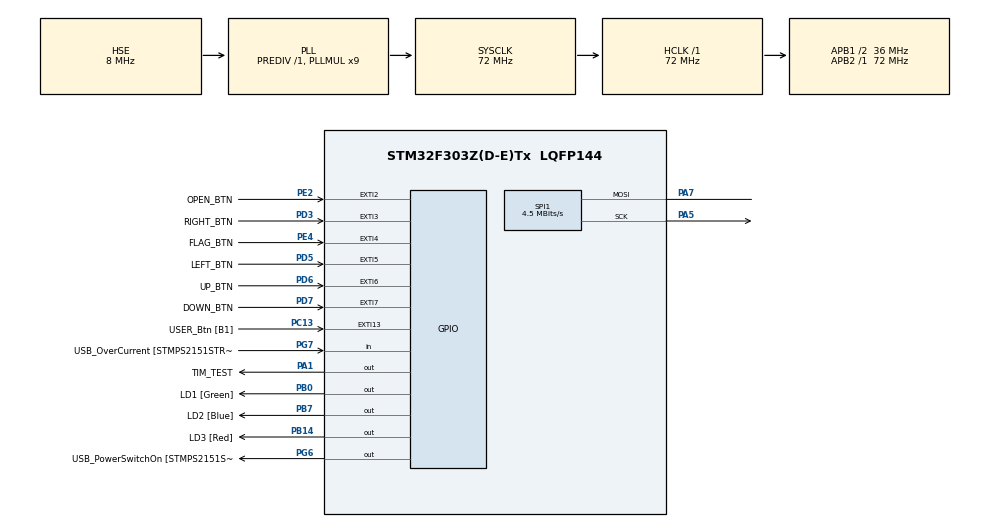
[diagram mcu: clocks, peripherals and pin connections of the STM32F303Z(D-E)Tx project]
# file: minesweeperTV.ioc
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Dma.Request0=SPI1_TX
Dma.SPI1_TX.0.Direction=DMA_MEMORY_TO_PERIPH
Dma.SPI1_TX.0.Instance=DMA1_Channel3
Dma.SPI1_TX.0.MemDataAlignment=DMA_MDATAALIGN_BYTE
Dma.SPI1_TX.0.MemInc=DMA_MINC_ENABLE
Dma.SPI1_TX.0.Mode=DMA_NORMAL
Dma.SPI1_TX.0.PeriphDataAlignment=DMA_PDATAALIGN_BYTE
Dma.SPI1_TX.0.PeriphInc=DMA_PINC_DISABLE
Dma.SPI1_TX.0.Priority=DMA_PRIORITY_LOW
Mcu.Family=STM32F3
Mcu.Name=STM32F303Z(D-E)Tx
Mcu.Package=LQFP144
NVIC.DMA1_Channel3_IRQn=true\:0\:0\:false\:false\:true\:false\:true\:true
NVIC.EXTI15_10_IRQn=true\:0\:0\:false\:false\:true\:true\:true\:true
NVIC.EXTI2_TSC_IRQn=true\:0\:0\:false\:false\:true\:true\:true\:true
NVIC.EXTI3_IRQn=true\:0\:0\:false\:false\:true\:true\:true\:true
NVIC.EXTI4_IRQn=true\:0\:0\:false\:false\:true\:true\:true\:true
NVIC.EXTI9_5_IRQn=true\:0\:0\:false\:false\:true\:true\:true\:true
NVIC.PriorityGroup=NVIC_PRIORITYGROUP_4
NVIC.SPI1_IRQn=true\:0\:0\:false\:false\:true\:true\:true\:true
NVIC.TIM1_UP_TIM16_IRQn=true\:0\:0\:false\:false\:true\:true\:true\:true
PA1.GPIO_Label=TIM_TEST
PA1.GPIO_Speed=GPIO_SPEED_FREQ_HIGH
PA1.Signal=GPIO_Output
PA11.GPIO_Label=USB_DM
PA11.Signal=USB_DM
PA12.GPIO_Label=USB_DP
PA12.Signal=USB_DP
PA13.GPIO_Label=TMS
PA13.Mode=Serial_Wire
PA13.Signal=SYS_JTMS-SWDIO
PA14.GPIO_Label=TCK
PA14.Mode=Serial_Wire
PA14.Signal=SYS_JTCK-SWCLK
PA5.GPIO_PuPd=GPIO_NOPULL
PA5.Mode=Simplex_Bidirectional_Master
PA5.Signal=SPI1_SCK
PA7.GPIO_PuPd=GPIO_PULLDOWN
PA7.Mode=Simplex_Bidirectional_Master
PA7.Signal=SPI1_MOSI
PB0.GPIO_Label=LD1 [Green]
PB0.Signal=GPIO_Output
PB14.GPIO_Label=LD3 [Red]
PB14.Signal=GPIO_Output
PB3.GPIO_Label=SWO
PB3.Signal=SYS_JTDO-TRACESWO
PB7.GPIO_Label=LD2 [Blue]
PB7.Signal=GPIO_Output
PC13.GPIO_Label=USER_Btn [B1]
PC13.Signal=GPXTI13
PC14-OSC32_IN.Mode=LSE-External-Oscillator
PC14-OSC32_IN.Signal=RCC_OSC32_IN
PC15-OSC32_OUT.Mode=LSE-External-Oscillator
PC15-OSC32_OUT.Signal=RCC_OSC32_OUT
PD3.GPIO_Label=RIGHT_BTN
PD3.GPIO_PuPd=GPIO_PULLUP
PD3.Signal=GPXTI3
PD5.GPIO_Label=LEFT_BTN
PD5.GPIO_PuPd=GPIO_PULLUP
PD5.Signal=GPXTI5
PD6.GPIO_Label=UP_BTN
PD6.GPIO_PuPd=GPIO_PULLUP
PD6.Signal=GPXTI6
PD7.GPIO_Label=DOWN_BTN
PD7.GPIO_PuPd=GPIO_PULLUP
PD7.Signal=GPXTI7
PD8.GPIO_Label=STLK_RX [STM32F103CBT6_PA3]
PD8.Signal=USART3_TX
PD9.GPIO_Label=STLK_TX [STM32F103CBT6_PA2]
PD9.Signal=USART3_RX
PE2.GPIO_Label=OPEN_BTN
PE2.GPIO_PuPd=GPIO_PULLUP
PE2.Signal=GPXTI2
PE4.GPIO_Label=FLAG_BTN
PE4.GPIO_PuPd=GPIO_PULLUP
PE4.Signal=GPXTI4
PF0-OSC_IN.GPIO_Label=MCO [STM32F103CBT6_PA8]
PF0-OSC_IN.Mode=HSE-External-Clock-Source
PF0-OSC_IN.Signal=RCC_OSC_IN
PG6.GPIO_Label=USB_PowerSwitchOn [STMPS2151STR_EN]
PG6.Signal=GPIO_Output
PG7.GPIO_Label=USB_OverCurrent [STMPS2151STR_FAULT]
PG7.Signal=GPIO_Input
ProjectManager.HeapSize=0x200
ProjectManager.StackSize=0x400
ProjectManager.TargetToolchain=Makefile
RCC.AHBFreq_Value=72000000
RCC.APB1CLKDivider=RCC_HCLK_DIV2
RCC.APB1Freq_Value=36000000
RCC.APB1TimFreq_Value=72000000
RCC.APB2Freq_Value=72000000
RCC.APB2TimFreq_Value=72000000
RCC.CortexFreq_Value=72000000
RCC.HCLKFreq_Value=72000000
RCC.HSE_VALUE=8000000
RCC.HSI_VALUE=8000000
RCC.PLLMUL=RCC_PLL_MUL9
RCC.PLLSourceVirtual=RCC_PLLSOURCE_HSE
RCC.PRESCALERUSB=RCC_USBCLKSOURCE_PLL_DIV1_5
RCC.SYSCLKFreq_VALUE=72000000
RCC.SYSCLKSourceVirtual=RCC_SYSCLKSOURCE_PLLCLK
RCC.USBFreq_Value=48000000
SPI1.BaudRatePrescaler=SPI_BAUDRATEPRESCALER_16
SPI1.CLKPhase=SPI_PHASE_1EDGE
SPI1.CalculateBaudRate=4.5 MBits/s
SPI1.DataSize=SPI_DATASIZE_8BIT
SPI1.Direction=SPI_DIRECTION_1LINE
SPI1.FirstBit=SPI_FIRSTBIT_LSB
SPI1.Mode=SPI_MODE_MASTER
SPI1.NSSPMode=SPI_NSS_PULSE_DISABLE
SPI1.VirtualType=VM_MASTER
TIM1.Period=1
TIM1.Prescaler=2303
TIM3.Prescaler=71
VP_TIM1_VS_ClockSourceINT.Mode=Internal
VP_TIM3_VS_ClockSourceINT.Mode=Internal
board=NUCLEO-F303ZE

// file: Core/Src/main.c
/* USER CODE BEGIN Header */
/**
  ******************************************************************************
  * @file           : main.c
  * @brief          : Main program body
  ******************************************************************************
  * @attention
  *
  * Copyright (c) 2023 STMicroelectronics.
  * All rights reserved.
  *
  * This software is licensed under terms that can be found in the LICENSE file
  * in the root directory of this software component.
  * If no LICENSE file comes with this software, it is provided AS-IS.
  *
  ******************************************************************************
  */
/* USER CODE END Header */
#include "main.h"

SPI_HandleTypeDef hspi1;
DMA_HandleTypeDef hdma_spi1_tx;

TIM_HandleTypeDef htim1;
TIM_HandleTypeDef htim3;

void SystemClock_Config(void);
static void MX_GPIO_Init(void);
static void MX_DMA_Init(void);
static void MX_SPI1_Init(void);
static void MX_TIM1_Init(void);
static void MX_TIM3_Init(void);
/* USER CODE BEGIN PFP */
void draw_rect(uint16_t x, uint16_t y, uint16_t width, uint16_t height);

/* USER CODE END PFP */

/* USER CODE BEGIN 0 */
uint16_t line = 0;

uint8_t image [5750] = {0};
gdi_handle handle = {image, 23 * 8, 250};
uint8_t game_field[81] = {0};

void delay_us (uint16_t us)
{
  //HAL_GPIO_TogglePin(TIM_TEST_GPIO_Port, TIM_TEST_Pin);
  //__HAL_TIM_CLEAR_IT(&htim3, TIM_IT_UPDATE);
  __HAL_TIM_SET_COUNTER(&htim3, 0);
	while (htim3.Instance->CNT < us) ;
  //HAL_GPIO_TogglePin(TIM_TEST_GPIO_Port, TIM_TEST_Pin);
}

typedef struct {
    uint32_t time_irq;
    uint8_t flag_irq;
    uint8_t flag_exec;
    uint16_t GPIO_pin;
    IRQn_Type GPIO_EXTI_line;
    void (*action) (game_handle *);
} button_handle;

button_handle buttons[] = {
    {0, 0, 0, DOWN_BTN_Pin , DOWN_BTN_EXTI_IRQn , game_player_move_down },
    {0, 0, 0, UP_BTN_Pin   , UP_BTN_EXTI_IRQn   , game_player_move_up   },
    {0, 0, 0, LEFT_BTN_Pin , LEFT_BTN_EXTI_IRQn , game_player_move_left },
    {0, 0, 0, RIGHT_BTN_Pin, RIGHT_BTN_EXTI_IRQn, game_player_move_right},
    {0, 0, 0, FLAG_BTN_Pin , FLAG_BTN_EXTI_IRQn , game_player_put_flag  },
    {0, 0, 0, OPEN_BTN_Pin , OPEN_BTN_EXTI_IRQn , game_player_open_cell },
};

/*
uint32_t time1_irq = 0;
uint8_t flag1_irq = 0;
uint8_t flag1_exec = 0;

uint32_t time2_irq = 0;
uint8_t flag2_irq = 0;
uint8_t flag2_exec = 0;
*/

void HAL_GPIO_EXTI_Callback(uint16_t GPIO_Pin)
{
    for(uint8_t i = 0; i < (sizeof(buttons) / sizeof(button_handle)); ++i) {
        if(buttons[i].GPIO_pin == GPIO_Pin) {
            buttons[i].flag_exec = 0;
            buttons[i].flag_irq = 1;
            buttons[i].time_irq = HAL_GetTick();
            HAL_NVIC_DisableIRQ(buttons[i].GPIO_EXTI_line);
            break;
        }
    }

    return;
/*
        if(GPIO_Pin == GPIO_PIN_2)
        {
            flag2_exec = 0;
            flag2_irq = 1;
            time2_irq = HAL_GetTick();
            HAL_NVIC_DisableIRQ(EXTI2_TSC_IRQn);
        }

        if(GPIO_Pin == GPIO_PIN_4)
        {
            flag1_exec = 0;
            flag1_irq = 1;
            time1_irq = HAL_GetTick();
            HAL_NVIC_DisableIRQ(EXTI4_IRQn);
        }
*/
}

void HAL_TIM_PeriodElapsedCallback(TIM_HandleTypeDef *htim)
{
        if(htim->Instance == TIM1) //check if the interrupt comes from TIM1
        {

            HAL_GPIO_WritePin(TIM_TEST_GPIO_Port, TIM_TEST_Pin, 0);

            if(line == 313) {
                delay_us(28);
                HAL_GPIO_WritePin(TIM_TEST_GPIO_Port, TIM_TEST_Pin, 1);
                delay_us(4);
                HAL_GPIO_WritePin(TIM_TEST_GPIO_Port, TIM_TEST_Pin, 0);
                delay_us(28);
                HAL_GPIO_WritePin(TIM_TEST_GPIO_Port, TIM_TEST_Pin, 1);
                delay_us(3);
                __HAL_TIM_SET_COUNTER(&htim1, 0);
            }
            delay_us(4);
            HAL_GPIO_WritePin(TIM_TEST_GPIO_Port, TIM_TEST_Pin, 1);
            delay_us(7);

            uint8_t *line_pointer = image + (line - 40) * 23;

            if(line >= 40 && line < 290) {
                if(HAL_SPI_Transmit_DMA(&hspi1, line_pointer, 23)
                  != HAL_OK) {
                  while(1) {
                      HAL_GPIO_TogglePin(LD2_GPIO_Port, LD2_Pin);
                      break;
                  }
                }
            }

            if(line == 313) {
                line = 0;
                return;
            }
            ++line;
        }
}

void draw_rect(uint16_t x, uint16_t y, uint16_t width, uint16_t height) {
    for(int i = y; i < y + height; ++i) {
        for(int j = x; j < x + width; ++j) {
            if(j / 8 == 19) {
              continue;
            }
            image[i * 23 + j / 8] |= (1 << (j % 8));
        }
    }
}

/* USER CODE END 0 */

int main(void)
{

  /* MCU Configuration--------------------------------------------------------*/

  /* Reset of all peripherals, Initializes the Flash interface and the Systick. */
  HAL_Init();

  /* Configure the system clock */
  SystemClock_Config();

  /* Initialize all configured peripherals */
  MX_GPIO_Init();
  MX_DMA_Init();
  MX_SPI1_Init();
  MX_TIM1_Init();
  MX_TIM3_Init();
  /* USER CODE BEGIN 2 */
  HAL_TIM_Base_Start(&htim3);
  HAL_TIM_Base_Start_IT(&htim1);

  /*draw_picture(68, 0, 16, 16, one, &handle);
  draw_picture(68, 16, 16, 16, two, &handle);
  draw_picture(68, 32, 16, 16, three, &handle);
  draw_picture(68, 48, 16, 16, four, &handle);
  draw_picture(68, 60, 16, 16, five, &handle);
  draw_picture(68, 76, 16, 16, six, &handle);
  draw_picture(68, 92, 16, 16, seven, &handle);
  draw_picture(68, 92, 16, 16, eight, &handle);
  draw_picture(68, 108, 16, 16, flag, &handle);
  draw_picture(68, 124, 16, 16, bomb, &handle);
  draw_picture(68, 140, 16, 16, not_opened_cell, &handle);
  //draw_picture(68, 156, 16, 16, selected_cell, &handle);
  */

  game_handle game = {9, 9, game_field, &handle, HAL_GetTick};
  game_start(&game);

  /* USER CODE END 2 */

  /* Infinite loop */
  /* USER CODE BEGIN WHILE */
  //uint16_t i = 0, j = 0;
  while (1)
  {
    /* USER CODE END WHILE */

    /* USER CODE BEGIN 3 */
    button_handle *temp;

    for(uint8_t i = 0; i < (sizeof(buttons) / sizeof(button_handle)); ++i) {
        temp = buttons + i;

        if(temp->flag_irq) {

            if(!temp->flag_exec) {
                temp->action(&game);
                temp->flag_exec = 1;
            }

            if((HAL_GetTick() - temp->time_irq) > 150) {
                __HAL_GPIO_EXTI_CLEAR_IT(temp->GPIO_pin);
                NVIC_ClearPendingIRQ(temp->GPIO_EXTI_line);
                HAL_NVIC_EnableIRQ(temp->GPIO_EXTI_line);
                temp->flag_irq = 0;
            }
        }
    }
    /*if(flag1_irq && (HAL_GetTick() - time1_irq) > 100)
    {
        if(!flag1_exec) {
            if(i == 0) {
              set_pixel(0, j, 1, &handle);
              ++i;
            }

            else if(i < 23 * 8) {
              set_pixel(i, j, 1, &handle);
              set_pixel(i - 1, j, 0, &handle);
              ++i;
            }

            else if(i >= 23 * 8) {
              i = 0;
            }
            flag1_exec = 1;
        }
        __HAL_GPIO_EXTI_CLEAR_IT(GPIO_PIN_4);  // очищаем бит EXTI_PR
        NVIC_ClearPendingIRQ(EXTI4_IRQn); // очищаем бит NVIC_ICPRx
        HAL_NVIC_EnableIRQ(EXTI4_IRQn);   // включаем внешнее прерывание
        flag1_irq = 0;
    }

    if(flag2_irq && (HAL_GetTick() - time2_irq) > 100)
    {
        if(!flag2_exec) {
            if(j == 0) {
              set_pixel(i, 0, 1, &handle);
              ++j;
            }

            else if(j < 250) {
              set_pixel(i, j, 1, &handle);
              set_pixel(i, j-1, 0, &handle);
              ++j;
            }

            else if(j >= 250) {
              j = 0;
            }
            flag2_exec = 1;
        }
        __HAL_GPIO_EXTI_CLEAR_IT(GPIO_PIN_2);  // очищаем бит EXTI_PR
        NVIC_ClearPendingIRQ(EXTI2_TSC_IRQn); // очищаем бит NVIC_ICPRx
        HAL_NVIC_EnableIRQ(EXTI2_TSC_IRQn);   // включаем внешнее прерывание
        flag2_irq = 0;
    }
    */

      //image[23*249 + 10]++;
  }
  /* USER CODE END 3 */
}

void SystemClock_Config(void)
{
  RCC_OscInitTypeDef RCC_OscInitStruct = {0};
  RCC_ClkInitTypeDef RCC_ClkInitStruct = {0};
  RCC_PeriphCLKInitTypeDef PeriphClkInit = {0};

  /** Initializes the RCC Oscillators according to the specified parameters
  * in the RCC_OscInitTypeDef structure.
  */
  RCC_OscInitStruct.OscillatorType = RCC_OSCILLATORTYPE_HSE;
  RCC_OscInitStruct.HSEState = RCC_HSE_BYPASS;
  RCC_OscInitStruct.HSIState = RCC_HSI_ON;
  RCC_OscInitStruct.PLL.PLLState = RCC_PLL_ON;
  RCC_OscInitStruct.PLL.PLLSource = RCC_PLLSOURCE_HSE;
  RCC_OscInitStruct.PLL.PLLMUL = RCC_PLL_MUL9;
  RCC_OscInitStruct.PLL.PREDIV = RCC_PREDIV_DIV1;
  if (HAL_RCC_OscConfig(&RCC_OscInitStruct) != HAL_OK)
  {
    Error_Handler();
  }

  /** Initializes the CPU, AHB and APB buses clocks
  */
  RCC_ClkInitStruct.ClockType = RCC_CLOCKTYPE_HCLK|RCC_CLOCKTYPE_SYSCLK
                              |RCC_CLOCKTYPE_PCLK1|RCC_CLOCKTYPE_PCLK2;
  RCC_ClkInitStruct.SYSCLKSource = RCC_SYSCLKSOURCE_PLLCLK;
  RCC_ClkInitStruct.AHBCLKDivider = RCC_SYSCLK_DIV1;
  RCC_ClkInitStruct.APB1CLKDivider = RCC_HCLK_DIV2;
  RCC_ClkInitStruct.APB2CLKDivider = RCC_HCLK_DIV1;

  if (HAL_RCC_ClockConfig(&RCC_ClkInitStruct, FLASH_LATENCY_2) != HAL_OK)
  {
    Error_Handler();
  }
  PeriphClkInit.PeriphClockSelection = RCC_PERIPHCLK_TIM1|RCC_PERIPHCLK_TIM34;
  PeriphClkInit.Tim1ClockSelection = RCC_TIM1CLK_HCLK;
  PeriphClkInit.Tim34ClockSelection = RCC_TIM34CLK_HCLK;
  if (HAL_RCCEx_PeriphCLKConfig(&PeriphClkInit) != HAL_OK)
  {
    Error_Handler();
  }
}

static void MX_SPI1_Init(void)
{

  /* SPI1 parameter configuration*/
  hspi1.Instance = SPI1;
  hspi1.Init.Mode = SPI_MODE_MASTER;
  hspi1.Init.Direction = SPI_DIRECTION_1LINE;
  hspi1.Init.DataSize = SPI_DATASIZE_8BIT;
  hspi1.Init.CLKPolarity = SPI_POLARITY_LOW;
  hspi1.Init.CLKPhase = SPI_PHASE_1EDGE;
  hspi1.Init.NSS = SPI_NSS_SOFT;
  hspi1.Init.BaudRatePrescaler = SPI_BAUDRATEPRESCALER_16;
  hspi1.Init.FirstBit = SPI_FIRSTBIT_LSB;
  hspi1.Init.TIMode = SPI_TIMODE_DISABLE;
  hspi1.Init.CRCCalculation = SPI_CRCCALCULATION_DISABLE;
  hspi1.Init.CRCPolynomial = 7;
  hspi1.Init.CRCLength = SPI_CRC_LENGTH_DATASIZE;
  hspi1.Init.NSSPMode = SPI_NSS_PULSE_DISABLE;
  if (HAL_SPI_Init(&hspi1) != HAL_OK)
  {
    Error_Handler();
  }

}

static void MX_TIM1_Init(void)
{

  TIM_ClockConfigTypeDef sClockSourceConfig = {0};
  TIM_MasterConfigTypeDef sMasterConfig = {0};

  htim1.Instance = TIM1;
  htim1.Init.Prescaler = 2303;
  htim1.Init.CounterMode = TIM_COUNTERMODE_UP;
  htim1.Init.Period = 1;
  htim1.Init.ClockDivision = TIM_CLOCKDIVISION_DIV1;
  htim1.Init.RepetitionCounter = 0;
  htim1.Init.AutoReloadPreload = TIM_AUTORELOAD_PRELOAD_DISABLE;
  if (HAL_TIM_Base_Init(&htim1) != HAL_OK)
  {
    Error_Handler();
  }
  sClockSourceConfig.ClockSource = TIM_CLOCKSOURCE_INTERNAL;
  if (HAL_TIM_ConfigClockSource(&htim1, &sClockSourceConfig) != HAL_OK)
  {
    Error_Handler();
  }
  sMasterConfig.MasterOutputTrigger = TIM_TRGO_RESET;
  sMasterConfig.MasterOutputTrigger2 = TIM_TRGO2_RESET;
  sMasterConfig.MasterSlaveMode = TIM_MASTERSLAVEMODE_DISABLE;
  if (HAL_TIMEx_MasterConfigSynchronization(&htim1, &sMasterConfig) != HAL_OK)
  {
    Error_Handler();
  }

}

static void MX_TIM3_Init(void)
{

  TIM_ClockConfigTypeDef sClockSourceConfig = {0};
  TIM_MasterConfigTypeDef sMasterConfig = {0};

  htim3.Instance = TIM3;
  htim3.Init.Prescaler = 71;
  htim3.Init.CounterMode = TIM_COUNTERMODE_UP;
  htim3.Init.Period = 65535;
  htim3.Init.ClockDivision = TIM_CLOCKDIVISION_DIV1;
  htim3.Init.AutoReloadPreload = TIM_AUTORELOAD_PRELOAD_DISABLE;
  if (HAL_TIM_Base_Init(&htim3) != HAL_OK)
  {
    Error_Handler();
  }
  sClockSourceConfig.ClockSource = TIM_CLOCKSOURCE_INTERNAL;
  if (HAL_TIM_ConfigClockSource(&htim3, &sClockSourceConfig) != HAL_OK)
  {
    Error_Handler();
  }
  sMasterConfig.MasterOutputTrigger = TIM_TRGO_RESET;
  sMasterConfig.MasterSlaveMode = TIM_MASTERSLAVEMODE_DISABLE;
  if (HAL_TIMEx_MasterConfigSynchronization(&htim3, &sMasterConfig) != HAL_OK)
  {
    Error_Handler();
  }

}

static void MX_DMA_Init(void)
{

  /* DMA controller clock enable */
  __HAL_RCC_DMA1_CLK_ENABLE();

  /* DMA interrupt init */
  /* DMA1_Channel3_IRQn interrupt configuration */
  HAL_NVIC_SetPriority(DMA1_Channel3_IRQn, 0, 0);
  HAL_NVIC_EnableIRQ(DMA1_Channel3_IRQn);

}

static void MX_GPIO_Init(void)
{
  GPIO_InitTypeDef GPIO_InitStruct = {0};

  /* GPIO Ports Clock Enable */
  __HAL_RCC_GPIOE_CLK_ENABLE();
  __HAL_RCC_GPIOC_CLK_ENABLE();
  __HAL_RCC_GPIOF_CLK_ENABLE();
  __HAL_RCC_GPIOA_CLK_ENABLE();
  __HAL_RCC_GPIOB_CLK_ENABLE();
  __HAL_RCC_GPIOD_CLK_ENABLE();
  __HAL_RCC_GPIOG_CLK_ENABLE();

  /*Configure GPIO pin Output Level */
  HAL_GPIO_WritePin(TIM_TEST_GPIO_Port, TIM_TEST_Pin, GPIO_PIN_RESET);

  /*Configure GPIO pin Output Level */
  HAL_GPIO_WritePin(GPIOB, LD1_Pin|LD3_Pin|LD2_Pin, GPIO_PIN_RESET);

  /*Configure GPIO pin Output Level */
  HAL_GPIO_WritePin(USB_PowerSwitchOn_GPIO_Port, USB_PowerSwitchOn_Pin, GPIO_PIN_RESET);

  /*Configure GPIO pins : OPEN_BTN_Pin FLAG_BTN_Pin */
  GPIO_InitStruct.Pin = OPEN_BTN_Pin|FLAG_BTN_Pin;
  GPIO_InitStruct.Mode = GPIO_MODE_IT_RISING;
  GPIO_InitStruct.Pull = GPIO_PULLUP;
  HAL_GPIO_Init(GPIOE, &GPIO_InitStruct);

  /*Configure GPIO pin : USER_Btn_Pin */
  GPIO_InitStruct.Pin = USER_Btn_Pin;
  GPIO_InitStruct.Mode = GPIO_MODE_IT_RISING;
  GPIO_InitStruct.Pull = GPIO_NOPULL;
  HAL_GPIO_Init(USER_Btn_GPIO_Port, &GPIO_InitStruct);

  /*Configure GPIO pin : TIM_TEST_Pin */
  GPIO_InitStruct.Pin = TIM_TEST_Pin;
  GPIO_InitStruct.Mode = GPIO_MODE_OUTPUT_PP;
  GPIO_InitStruct.Pull = GPIO_NOPULL;
  GPIO_InitStruct.Speed = GPIO_SPEED_FREQ_HIGH;
  HAL_GPIO_Init(TIM_TEST_GPIO_Port, &GPIO_InitStruct);

  /*Configure GPIO pins : LD1_Pin LD3_Pin LD2_Pin */
  GPIO_InitStruct.Pin = LD1_Pin|LD3_Pin|LD2_Pin;
  GPIO_InitStruct.Mode = GPIO_MODE_OUTPUT_PP;
  GPIO_InitStruct.Pull = GPIO_NOPULL;
  GPIO_InitStruct.Speed = GPIO_SPEED_FREQ_LOW;
  HAL_GPIO_Init(GPIOB, &GPIO_InitStruct);

  /*Configure GPIO pins : STLK_RX_Pin STLK_TX_Pin */
  GPIO_InitStruct.Pin = STLK_RX_Pin|STLK_TX_Pin;
  GPIO_InitStruct.Mode = GPIO_MODE_AF_PP;
  GPIO_InitStruct.Pull = GPIO_NOPULL;
  GPIO_InitStruct.Speed = GPIO_SPEED_FREQ_HIGH;
  GPIO_InitStruct.Alternate = GPIO_AF7_USART3;
  HAL_GPIO_Init(GPIOD, &GPIO_InitStruct);

  /*Configure GPIO pin : USB_PowerSwitchOn_Pin */
  GPIO_InitStruct.Pin = USB_PowerSwitchOn_Pin;
  GPIO_InitStruct.Mode = GPIO_MODE_OUTPUT_PP;
  GPIO_InitStruct.Pull = GPIO_NOPULL;
  GPIO_InitStruct.Speed = GPIO_SPEED_FREQ_LOW;
  HAL_GPIO_Init(USB_PowerSwitchOn_GPIO_Port, &GPIO_InitStruct);

  /*Configure GPIO pin : USB_OverCurrent_Pin */
  GPIO_InitStruct.Pin = USB_OverCurrent_Pin;
  GPIO_InitStruct.Mode = GPIO_MODE_INPUT;
  GPIO_InitStruct.Pull = GPIO_NOPULL;
  HAL_GPIO_Init(USB_OverCurrent_GPIO_Port, &GPIO_InitStruct);

  /*Configure GPIO pins : RIGHT_BTN_Pin LEFT_BTN_Pin UP_BTN_Pin DOWN_BTN_Pin */
  GPIO_InitStruct.Pin = RIGHT_BTN_Pin|LEFT_BTN_Pin|UP_BTN_Pin|DOWN_BTN_Pin;
  GPIO_InitStruct.Mode = GPIO_MODE_IT_RISING;
  GPIO_InitStruct.Pull = GPIO_PULLUP;
  HAL_GPIO_Init(GPIOD, &GPIO_InitStruct);

  /* EXTI interrupt init*/
  HAL_NVIC_SetPriority(EXTI2_TSC_IRQn, 0, 0);
  HAL_NVIC_EnableIRQ(EXTI2_TSC_IRQn);

  HAL_NVIC_SetPriority(EXTI3_IRQn, 0, 0);
  HAL_NVIC_EnableIRQ(EXTI3_IRQn);

  HAL_NVIC_SetPriority(EXTI4_IRQn, 0, 0);
  HAL_NVIC_EnableIRQ(EXTI4_IRQn);

  HAL_NVIC_SetPriority(EXTI9_5_IRQn, 0, 0);
  HAL_NVIC_EnableIRQ(EXTI9_5_IRQn);

  HAL_NVIC_SetPriority(EXTI15_10_IRQn, 0, 0);
  HAL_NVIC_EnableIRQ(EXTI15_10_IRQn);

}

void Error_Handler(void)
{
  /* USER CODE BEGIN Error_Handler_Debug */
  /* User can add his own implementation to report the HAL error return state */
  __disable_irq();
  while (1)
  {
    HAL_Delay(500);
    HAL_GPIO_TogglePin(LD1_GPIO_Port, LD1_Pin);
    HAL_Delay(500);
    HAL_GPIO_TogglePin(LD1_GPIO_Port, LD1_Pin);
  }
  /* USER CODE END Error_Handler_Debug */
}
